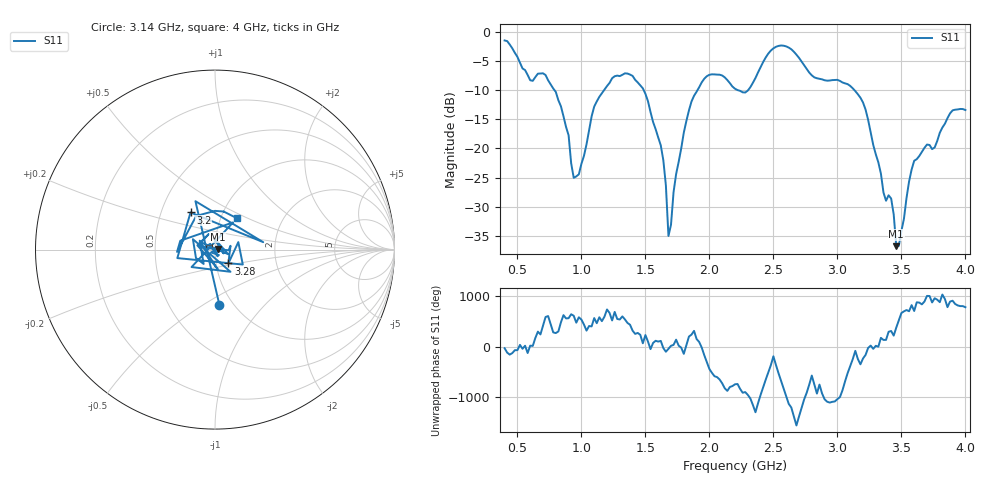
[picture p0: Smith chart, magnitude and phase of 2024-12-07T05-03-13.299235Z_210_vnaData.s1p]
!Created with skrf (http://scikit-rf.org).
# Hz S RI R 50.0
!freq ReS11 ImS11
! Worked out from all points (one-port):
!   181 points, 400 MHz to 4 GHz, reference 50 ohm
!   lowest |S11| = -36.7 dB at 3.46 GHz (marker M1), VSWR 1.03, Z = 51.4 + j0.343 ohm
!   |S11| at or under -10 dB: 789.1 MHz to 1.178 GHz (388.7 MHz wide, 39.5 % of centre); 1.486 GHz to 1.907 GHz (421 MHz wide, 24.8 % of centre); 3.132 GHz to end of sweep (the widest 3 of 4)
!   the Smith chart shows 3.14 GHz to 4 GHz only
!   S11 on the Smith chart (normalised r, x): 3.14 GHz: 0.86, -0.59; 3.2 GHz: 0.70, +0.31; 3.28 GHz: 1.15, -0.18; 4 GHz: 1.19, +0.44
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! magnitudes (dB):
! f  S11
! 400 MHz  -1.5
! 600 MHz  -8.3
! 720 MHz  -7.4
! 860 MHz  -14.5
! 940 MHz  -25.0
! 960 MHz  -24.8
! 1.1 GHz  -12.8
! 1.3 GHz  -7.6
! 1.52 GHz  -11.9
! 1.64 GHz  -22.0
! 1.68 GHz  -35.0
! 1.76 GHz  -22.3
! 1.86 GHz  -12.0
! 1.96 GHz  -8.1
! 2.2 GHz  -9.8
! 2.3 GHz  -10.1
! 2.5 GHz  -2.9
! 2.66 GHz  -3.4
! 3.1 GHz  -9.3
! 3.14 GHz  -10.2
! 3.2 GHz  -12.1
! 3.28 GHz  -19.4
! 3.38 GHz  -29.0
! 3.42 GHz  -28.6
! 3.46 GHz  -36.7
! 3.56 GHz  -25.7
! 3.88 GHz  -14.0
! 4 GHz  -13.4
